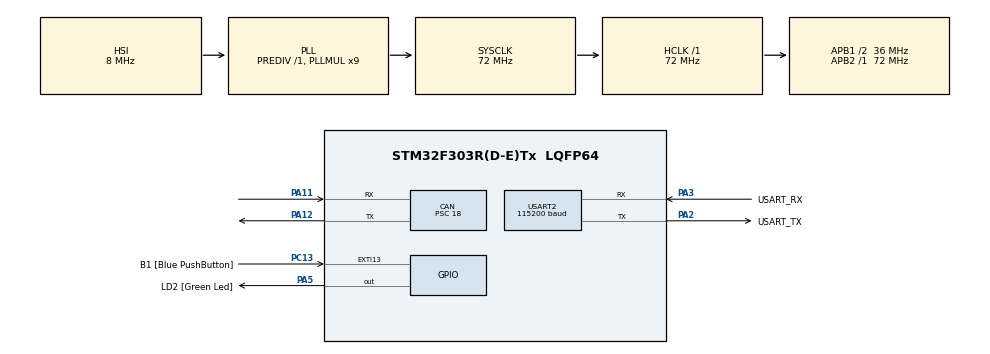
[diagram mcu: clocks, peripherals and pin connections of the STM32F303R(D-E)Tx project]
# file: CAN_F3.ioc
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CAN.BS1=CAN_BS1_3TQ
CAN.BS2=CAN_BS2_5TQ
CAN.CalculateTimeBit=4500
CAN.CalculateTimeQuantum=500.0
CAN.Prescaler=18
Mcu.Family=STM32F3
Mcu.Name=STM32F303R(D-E)Tx
Mcu.Package=LQFP64
NVIC.PriorityGroup=NVIC_PRIORITYGROUP_0
PA11.Mode=Master
PA11.Signal=CAN_RX
PA12.Mode=Master
PA12.Signal=CAN_TX
PA13.GPIO_Label=TMS
PA13.Signal=SYS_JTMS-SWDIO
PA14.GPIO_Label=TCK
PA14.Signal=SYS_JTCK-SWCLK
PA2.GPIO_Label=USART_TX
PA2.GPIO_Mode=GPIO_MODE_AF_PP
PA2.GPIO_PuPd=GPIO_NOPULL
PA2.GPIO_Speed=GPIO_SPEED_FREQ_LOW
PA2.Mode=Asynchronous
PA2.Signal=USART2_TX
PA3.GPIO_Label=USART_RX
PA3.GPIO_Mode=GPIO_MODE_AF_PP
PA3.GPIO_PuPd=GPIO_NOPULL
PA3.GPIO_Speed=GPIO_SPEED_FREQ_LOW
PA3.Mode=Asynchronous
PA3.Signal=USART2_RX
PA5.GPIO_Label=LD2 [Green Led]
PA5.GPIO_Mode=GPIO_MODE_OUTPUT_PP
PA5.GPIO_PuPd=GPIO_NOPULL
PA5.GPIO_Speed=GPIO_SPEED_FREQ_LOW
PA5.Signal=GPIO_Output
PB3.GPIO_Label=SWO
PB3.Signal=SYS_JTDO-TRACESWO
PC13.GPIO_Label=B1 [Blue PushButton]
PC13.GPIO_ModeDefaultEXTI=GPIO_MODE_IT_FALLING
PC13.Signal=GPXTI13
PC14-OSC32_IN.Signal=RCC_OSC32_IN
PC15-OSC32_OUT.Signal=RCC_OSC32_OUT
PF0-OSC_IN.Signal=RCC_OSC_IN
PF1-OSC_OUT.Signal=RCC_OSC_OUT
ProjectManager.HeapSize=0x200
ProjectManager.StackSize=0x400
ProjectManager.TargetToolchain=SW4STM32
RCC.AHBFreq_Value=72000000
RCC.APB1CLKDivider=RCC_HCLK_DIV2
RCC.APB1Freq_Value=36000000
RCC.APB1TimFreq_Value=72000000
RCC.APB2Freq_Value=72000000
RCC.APB2TimFreq_Value=72000000
RCC.CortexFreq_Value=72000000
RCC.HCLKFreq_Value=72000000
RCC.HSE_VALUE=8000000
RCC.HSI_VALUE=8000000
RCC.LSE_VALUE=32768
RCC.PLLM=8
RCC.PLLMUL=RCC_PLL_MUL9
RCC.PLLN=336
RCC.PLLP=RCC_PLLP_DIV4
RCC.PLLQ=7
RCC.RCC_PLLsource_Clock_Source_FROM_HSE=RCC_HSE_PREDIV_DIV2
RCC.SYSCLKFreq_VALUE=72000000
RCC.SYSCLKSourceVirtual=RCC_SYSCLKSOURCE_PLLCLK
RCC.USBFreq_Value=72000000
USART2.BaudRate=115200
USART2.VirtualMode-Asynchronous=VM_ASYNC
USART2.WordLength=WORDLENGTH_8B
board=NUCLEO-F303RE

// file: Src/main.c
/**
  ******************************************************************************
  * File Name          : main.c
  * Description        : Main program body
  ******************************************************************************
  ** This notice applies to any and all portions of this file
  * that are not between comment pairs USER CODE BEGIN and
  * USER CODE END. Other portions of this file, whether
  * inserted by the user or by software development tools
  * are owned by their respective copyright owners.
  *
  * COPYRIGHT(c) 2017 STMicroelectronics
  *
  * Redistribution and use in source and binary forms, with or without modification,
  * are permitted provided that the following conditions are met:
  *   1. Redistributions of source code must retain the above copyright notice,
  *      this list of conditions and the following disclaimer.
  *   2. Redistributions in binary form must reproduce the above copyright notice,
  *      this list of conditions and the following disclaimer in the documentation
  *      and/or other materials provided with the distribution.
  *   3. Neither the name of STMicroelectronics nor the names of its contributors
  *      may be used to endorse or promote products derived from this software
  *      without specific prior written permission.
  *
  * THIS SOFTWARE IS PROVIDED BY THE COPYRIGHT HOLDERS AND CONTRIBUTORS "AS IS"
  * AND ANY EXPRESS OR IMPLIED WARRANTIES, INCLUDING, BUT NOT LIMITED TO, THE
  * IMPLIED WARRANTIES OF MERCHANTABILITY AND FITNESS FOR A PARTICULAR PURPOSE ARE
  * DISCLAIMED. IN NO EVENT SHALL THE COPYRIGHT HOLDER OR CONTRIBUTORS BE LIABLE
  * FOR ANY DIRECT, INDIRECT, INCIDENTAL, SPECIAL, EXEMPLARY, OR CONSEQUENTIAL
  * DAMAGES (INCLUDING, BUT NOT LIMITED TO, PROCUREMENT OF SUBSTITUTE GOODS OR
  * SERVICES; LOSS OF USE, DATA, OR PROFITS; OR BUSINESS INTERRUPTION) HOWEVER
  * CAUSED AND ON ANY THEORY OF LIABILITY, WHETHER IN CONTRACT, STRICT LIABILITY,
  * OR TORT (INCLUDING NEGLIGENCE OR OTHERWISE) ARISING IN ANY WAY OUT OF THE USE
  * OF THIS SOFTWARE, EVEN IF ADVISED OF THE POSSIBILITY OF SUCH DAMAGE.
  *
  ******************************************************************************
  */

#include "main.h"
#include "stm32f3xx_hal.h"

CAN_HandleTypeDef CanHandle;
UART_HandleTypeDef huart2;

/* USER CODE BEGIN PV */
/* Private variables ---------------------------------------------------------*/
unsigned char i,RxData,j;
unsigned char tab[60];
CanTxMsgTypeDef        TxMessage;
CanRxMsgTypeDef        RxMessage;

/* USER CODE END PV */

void SystemClock_Config(void);
static void MX_GPIO_Init(void);
static void MX_CAN_Init(void);
static void MX_USART2_UART_Init(void);

/* USER CODE BEGIN PFP */
/* Private function prototypes -----------------------------------------------*/
void CAN_Tx(unsigned char data)
{
	CAN->sTxMailBox[0].TDLR=data;
	CAN->sTxMailBox[0].TIR|=1;
}

unsigned char CAN_Rx(void)
{
	while(!CAN->RF0R&3);
	unsigned char RxD=(CAN->sFIFOMailBox[0].RDLR)&0xFF;
	CAN->RF0R|=1<<5;
	return RxD;
}
/* USER CODE END PFP */

int main(void)
{

  /* MCU Configuration----------------------------------------------------------*/

  /* Reset of all peripherals, Initializes the Flash interface and the Systick. */
  HAL_Init();

  /* Configure the system clock */
  SystemClock_Config();

  /* Initialize all configured peripherals */
  MX_GPIO_Init();

  MX_USART2_UART_Init();

  /* USER CODE BEGIN 2 */

/*
  CAN->sTxMailBox[0].TIR=0;
  CAN->sTxMailBox[0].TIR=0x245<<21;
  CAN->sTxMailBox[0].TDHR=0;
  CAN->sTxMailBox[0].TDTR=1;

  CAN->FMR|=1<<0;
  CAN->FMR|=14<<8;
  CAN->FS1R|=1<<14;
  CAN->sFilterRegister[14].FR1=0x245<<21;
  CAN->FM1R|=1<<14;
  CAN->FA1R|=1<<14;
  CAN->FMR&=~(1<<0);
*/

  j=sprintf(tab,"START\n"); if(HAL_UART_Transmit(&huart2, (uint8_t *)&tab,j,5000)!= HAL_OK) Error_Handler();

  // ver2
  CAN_FilterConfTypeDef  sFilterConfig;

  j=sprintf(tab,"1\n"); if(HAL_UART_Transmit(&huart2, (uint8_t *)&tab,j,5000)!= HAL_OK) Error_Handler();

  /*
  CanHandle.Init.TTCM = DISABLE;
  CanHandle.Init.ABOM = DISABLE;
  CanHandle.Init.AWUM = DISABLE;
  CanHandle.Init.NART = DISABLE;
  CanHandle.Init.RFLM = DISABLE;
  CanHandle.Init.TXFP = DISABLE;
  CanHandle.Init.Mode = CAN_MODE_LOOPBACK;
  CanHandle.Init.SJW = CAN_SJW_1TQ;
  CanHandle.Init.BS1 = CAN_BS1_6TQ;
  CanHandle.Init.BS2 = CAN_BS2_8TQ;
  CanHandle.Init.Prescaler = 2;

*/

  MX_CAN_Init();

   /*##-2- Configure the CAN Filter ###########################################*/
  sFilterConfig.FilterNumber = 0;
  sFilterConfig.FilterMode = CAN_FILTERMODE_IDMASK;
  sFilterConfig.FilterScale = CAN_FILTERSCALE_32BIT;
  sFilterConfig.FilterIdHigh = 0x0000;
  sFilterConfig.FilterIdLow = 0x0000;
  sFilterConfig.FilterMaskIdHigh = 0x0000;
  sFilterConfig.FilterMaskIdLow = 0x0000;
  sFilterConfig.FilterFIFOAssignment = 0;
  sFilterConfig.FilterActivation = ENABLE;
  sFilterConfig.BankNumber = 14;
  HAL_CAN_ConfigFilter(&CanHandle,&sFilterConfig);
 // HAL_CAN_Receive_IT(&CanHandle, CAN_FIFO0);

  if(HAL_CAN_ConfigFilter(&CanHandle, &sFilterConfig) != HAL_OK)
  {
    /* Filter configuration Error */
	  j=sprintf(tab,"error0\n"); if(HAL_UART_Transmit(&huart2, (uint8_t *)&tab,j,5000)!= HAL_OK) Error_Handler();
  }

  if(HAL_CAN_Init(&CanHandle) != HAL_OK)
 {
   /* Initialization Error */
	  j=sprintf(tab,"error\n"); if(HAL_UART_Transmit(&huart2, (uint8_t *)&tab,j,5000)!= HAL_OK) Error_Handler();
 }

  CanHandle.pTxMsg=&TxMessage;
  CanHandle.pRxMsg=&RxMessage;

  /*

  //##-3- Start the Transmission process #####################################
  CanHandle.pTxMsg->StdId = 0x11;
  CanHandle.pTxMsg->RTR = CAN_RTR_DATA;
  CanHandle.pTxMsg->IDE = CAN_ID_STD;
  CanHandle.pTxMsg->DLC = 2;
  CanHandle.pTxMsg->Data[0] = (unsigned char)65;
  CanHandle.pTxMsg->Data[1] = (unsigned char)66;

  if(HAL_CAN_Transmit(&CanHandle, 10) != HAL_OK)
  {
    // Transmission Error
	  j=sprintf(tab,"error\n"); if(HAL_UART_Transmit(&huart2, (uint8_t *)&tab,j,5000)!= HAL_OK) Error_Handler();
  }
  if(HAL_CAN_GetState(&CanHandle) != HAL_CAN_STATE_READY)
  {
	  j=sprintf(tab,"error\n"); if(HAL_UART_Transmit(&huart2, (uint8_t *)&tab,j,5000)!= HAL_OK) Error_Handler();
  }

  */

  /*##-4- Start the Reception process ########################################*/
  if(HAL_CAN_Receive(&CanHandle, CAN_FIFO0,10) != HAL_OK)
  {
    /* Reception Error */
	  j=sprintf(tab,"error1\n"); if(HAL_UART_Transmit(&huart2, (uint8_t *)&tab,j,5000)!= HAL_OK) Error_Handler();
  }

  if(HAL_CAN_GetState(&CanHandle) != HAL_CAN_STATE_READY)
  {
	  j=sprintf(tab,"error2\n"); if(HAL_UART_Transmit(&huart2, (uint8_t *)&tab,j,5000)!= HAL_OK) Error_Handler();
  }

  if (CanHandle.pRxMsg->StdId != 0x11)
  {
	  j=sprintf(tab,"error\n"); if(HAL_UART_Transmit(&huart2, (uint8_t *)&tab,j,5000)!= HAL_OK) Error_Handler();
  }

  if (CanHandle.pRxMsg->IDE != CAN_ID_STD)
  {
	  j=sprintf(tab,"error3\n"); if(HAL_UART_Transmit(&huart2, (uint8_t *)&tab,j,5000)!= HAL_OK) Error_Handler();
  }

  if (CanHandle.pRxMsg->DLC != 2)
  {
	  j=sprintf(tab,"error4\n"); if(HAL_UART_Transmit(&huart2, (uint8_t *)&tab,j,5000)!= HAL_OK) Error_Handler();
  }

  j=sprintf(tab,"9\n",i); if(HAL_UART_Transmit(&huart2, (uint8_t *)&tab,j,5000)!= HAL_OK) Error_Handler();

  if ( (RxMessage.Data[0]== (unsigned char)65) &&
	   (RxMessage.Data[1]== (unsigned char)66)) //    CanHandle.pRxMsg->Data[0] == (unsigned char)65)
  {
	  j=sprintf(tab,"can[0]=%i can[1]=%i\n",RxMessage.Data[0],RxMessage.Data[1]); if(HAL_UART_Transmit(&huart2, (uint8_t *)&tab,j,5000)!= HAL_OK) Error_Handler();
  }

  j=sprintf(tab,"Koniec!\n"); if(HAL_UART_Transmit(&huart2, (uint8_t *)&tab,j,5000)!= HAL_OK) Error_Handler();

  // end ver2

  /* USER CODE END 2 */

  /* Infinite loop */
  /* USER CODE BEGIN WHILE */
  while (1)
  {
	  ++i;

	  // wyslij message
	  //ver.1
	  //CAN_Tx(i);
	  //ver.2

	  /*
	  //##-3- Start the Transmission process #####################################
	  CanHandle.pTxMsg->StdId = 0x11;
	  CanHandle.pTxMsg->RTR = CAN_RTR_DATA;
	  CanHandle.pTxMsg->IDE = CAN_ID_STD;
	  CanHandle.pTxMsg->DLC = 8;
	  CanHandle.pTxMsg->Data[0] = i;
	  CanHandle.pTxMsg->Data[1] = i;
	  CanHandle.pTxMsg->Data[2] = i;
	  CanHandle.pTxMsg->Data[3] = i;
	  CanHandle.pTxMsg->Data[4] = i;
	  CanHandle.pTxMsg->Data[5] = i;
	  CanHandle.pTxMsg->Data[6] = i;
	  CanHandle.pTxMsg->Data[7] = i;

	  if(HAL_CAN_Transmit(&CanHandle, 10) != HAL_OK)
	  {
	    // Transmission Error
		  j=sprintf(tab,"error\n"); if(HAL_UART_Transmit(&huart2, (uint8_t *)&tab,j,5000)!= HAL_OK) Error_Handler();
	  }else{
		  j=sprintf(tab,"Send %i\n",i); if(HAL_UART_Transmit(&huart2, (uint8_t *)&tab,j,5000)!= HAL_OK) Error_Handler();
	  }
*/

	 // RxData=CAN_Rx();

	  /*##-4- Start the Reception process ########################################*/
	  if(HAL_CAN_Receive(&CanHandle, CAN_FIFO0,100) != HAL_OK)
	  {
	    /* Reception Error */
		  j=sprintf(tab,"error5\n"); if(HAL_UART_Transmit(&huart2, (uint8_t *)&tab,j,5000)!= HAL_OK) Error_Handler();
	  }
	  else
	  {
		  j=sprintf(tab,"CANval: %i %i\n",CanHandle.pRxMsg->Data[0],CanHandle.pRxMsg->Data[7]); if(HAL_UART_Transmit(&huart2, (uint8_t *)&tab,j,5000)!= HAL_OK) Error_Handler();
	  }

	 // HAL_Delay(20);

  /* USER CODE END WHILE */

  }

}

/** System Clock Configuration
*/
void SystemClock_Config(void)
{

  RCC_OscInitTypeDef RCC_OscInitStruct;
  RCC_ClkInitTypeDef RCC_ClkInitStruct;
  RCC_PeriphCLKInitTypeDef PeriphClkInit;

    /**Initializes the CPU, AHB and APB busses clocks
    */
  RCC_OscInitStruct.OscillatorType = RCC_OSCILLATORTYPE_HSI;
  RCC_OscInitStruct.HSIState = RCC_HSI_ON;
  RCC_OscInitStruct.HSICalibrationValue = 16;
  RCC_OscInitStruct.PLL.PLLState = RCC_PLL_ON;
  RCC_OscInitStruct.PLL.PLLSource = RCC_PLLSOURCE_HSI;
  RCC_OscInitStruct.PLL.PLLMUL = RCC_PLL_MUL9;
  RCC_OscInitStruct.PLL.PREDIV = RCC_PREDIV_DIV1; //
  if (HAL_RCC_OscConfig(&RCC_OscInitStruct) != HAL_OK)
  {
    _Error_Handler(__FILE__, __LINE__);
  }

    /**Initializes the CPU, AHB and APB busses clocks
    */
  RCC_ClkInitStruct.ClockType = RCC_CLOCKTYPE_HCLK|RCC_CLOCKTYPE_SYSCLK
                              |RCC_CLOCKTYPE_PCLK1|RCC_CLOCKTYPE_PCLK2;
  RCC_ClkInitStruct.SYSCLKSource = RCC_SYSCLKSOURCE_PLLCLK;
  RCC_ClkInitStruct.AHBCLKDivider = RCC_SYSCLK_DIV1;
  RCC_ClkInitStruct.APB1CLKDivider = RCC_HCLK_DIV2;
  RCC_ClkInitStruct.APB2CLKDivider = RCC_HCLK_DIV1;

  if (HAL_RCC_ClockConfig(&RCC_ClkInitStruct, FLASH_LATENCY_2) != HAL_OK)
  {
    _Error_Handler(__FILE__, __LINE__);
  }

  PeriphClkInit.PeriphClockSelection = RCC_PERIPHCLK_USART2;//
  PeriphClkInit.Usart2ClockSelection = RCC_USART2CLKSOURCE_PCLK1;//
  if (HAL_RCCEx_PeriphCLKConfig(&PeriphClkInit) != HAL_OK)
  {
    _Error_Handler(__FILE__, __LINE__);
  }

    /**Configure the Systick interrupt time
    */
  HAL_SYSTICK_Config(HAL_RCC_GetHCLKFreq()/1000);

    /**Configure the Systick
    */
  HAL_SYSTICK_CLKSourceConfig(SYSTICK_CLKSOURCE_HCLK);

  /* SysTick_IRQn interrupt configuration */
  HAL_NVIC_SetPriority(SysTick_IRQn, 0, 0);
}

/* CAN init function */

static void MX_CAN_Init(void)
{

	CanHandle.Instance = CAN;
	CanHandle.Init.Prescaler = 18;
	CanHandle.Init.Mode = CAN_MODE_NORMAL;
	CanHandle.Init.SJW = CAN_SJW_1TQ;
	CanHandle.Init.BS1 = CAN_BS1_3TQ;
	CanHandle.Init.BS2 = CAN_BS2_5TQ;
	CanHandle.Init.TTCM = DISABLE;
	CanHandle.Init.ABOM = DISABLE;
	CanHandle.Init.AWUM = DISABLE;
	CanHandle.Init.NART = DISABLE;
	CanHandle.Init.RFLM = DISABLE;
	CanHandle.Init.TXFP = DISABLE;
  if (HAL_CAN_Init(&CanHandle) != HAL_OK)
  {
    _Error_Handler(__FILE__, __LINE__);
  }

}

/* USART2 init function */
static void MX_USART2_UART_Init(void)
{

  huart2.Instance = USART2;
  huart2.Init.BaudRate = 115200;
  huart2.Init.WordLength = UART_WORDLENGTH_8B;
  huart2.Init.StopBits = UART_STOPBITS_1;
  huart2.Init.Parity = UART_PARITY_NONE;
  huart2.Init.Mode = UART_MODE_TX_RX;
  huart2.Init.HwFlowCtl = UART_HWCONTROL_NONE;
  huart2.Init.OverSampling = UART_OVERSAMPLING_16;
  huart2.Init.OneBitSampling = UART_ONE_BIT_SAMPLE_DISABLE;
  huart2.AdvancedInit.AdvFeatureInit = UART_ADVFEATURE_NO_INIT;
  if (HAL_UART_Init(&huart2) != HAL_OK)
  {
    _Error_Handler(__FILE__, __LINE__);
  }

}

/** Configure pins as
        * Analog
        * Input
        * Output
        * EVENT_OUT
        * EXTI
*/
static void MX_GPIO_Init(void)
{

  GPIO_InitTypeDef GPIO_InitStruct;

  /* GPIO Ports Clock Enable */
  __HAL_RCC_GPIOC_CLK_ENABLE();
  __HAL_RCC_GPIOF_CLK_ENABLE();
  __HAL_RCC_GPIOA_CLK_ENABLE();
  __HAL_RCC_GPIOB_CLK_ENABLE();

  /*Configure GPIO pin Output Level */
  HAL_GPIO_WritePin(LD2_GPIO_Port, LD2_Pin, GPIO_PIN_RESET);

  /*Configure GPIO pin : B1_Pin */
  GPIO_InitStruct.Pin = B1_Pin;
  GPIO_InitStruct.Mode = GPIO_MODE_IT_FALLING;
  GPIO_InitStruct.Pull = GPIO_NOPULL;
  HAL_GPIO_Init(B1_GPIO_Port, &GPIO_InitStruct);

  /*Configure GPIO pin : LD2_Pin */
  GPIO_InitStruct.Pin = LD2_Pin;
  GPIO_InitStruct.Mode = GPIO_MODE_OUTPUT_PP;
  GPIO_InitStruct.Pull = GPIO_NOPULL;
  GPIO_InitStruct.Speed = GPIO_SPEED_FREQ_LOW;
  HAL_GPIO_Init(LD2_GPIO_Port, &GPIO_InitStruct);

}

void _Error_Handler(char * file, int line)
{
  while(1)
  {
  }
}

/************************ (C) COPYRIGHT STMicroelectronics *****END OF FILE****/
